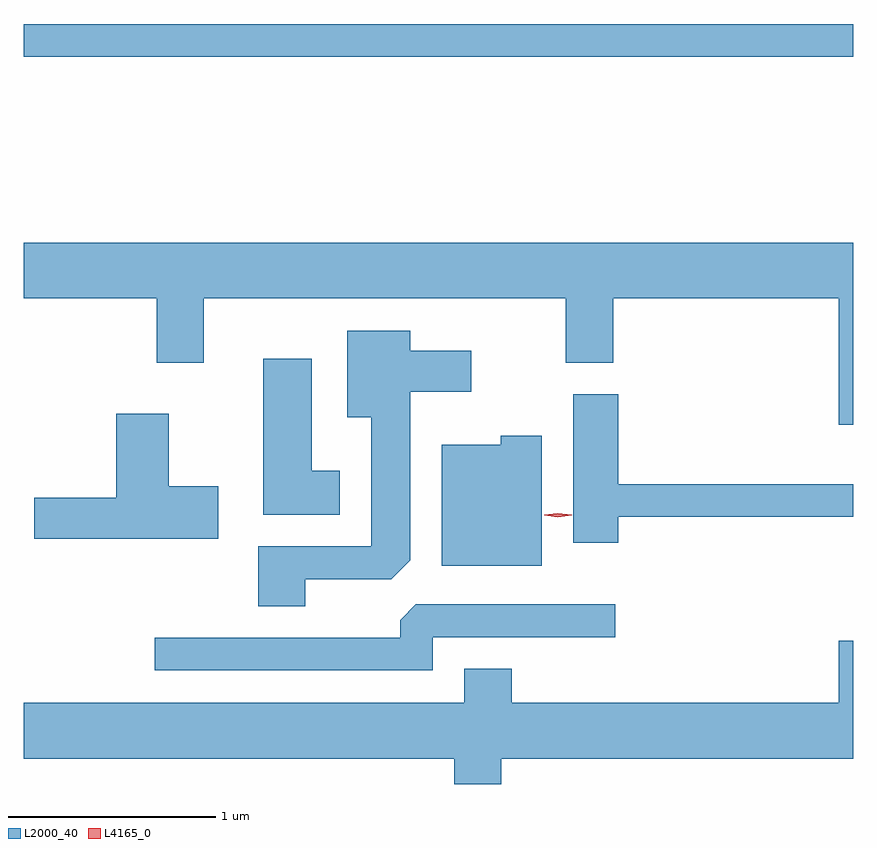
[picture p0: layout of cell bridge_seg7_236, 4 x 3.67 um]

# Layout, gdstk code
import gdstk
lib = gdstk.Library(unit=1e-6, precision=1e-09)
def R(c, l, rs):  # rectangles x0, y0, x1, y1
    for r in rs: c.add(gdstk.rectangle(r[:2], r[2:], *l))
def P(c, l, *ps):  # polygons
    for p in ps: c.add(gdstk.Polygon(p, *l))
L2000_40 = (2000, 40)
L4165_0 = (4165, 0)

bridge_seg7_236 = lib.new_cell('bridge_seg7_236')
R(bridge_seg7_236, L2000_40, [(1769.586,1697.721,1773.586,1697.879)])
P(bridge_seg7_236, L2000_40, [(1773.586,1696.824),(1769.586,1696.824),(1769.586,1696.556),(1770.226,1696.556),(1770.226,1696.246),(1770.454,1696.246),(1770.454,1696.556),(1772.201,1696.556),(1772.201,1696.246),(1772.429,1696.246),(1772.429,1696.556),(1773.516,1696.556),(1773.516,1695.946),(1773.586,1695.946)],
  [(1770.944,1695.201),(1771.359,1695.201),(1771.449,1695.292),(1771.449,1696.106),(1771.744,1696.106),(1771.744,1696.304),(1771.449,1696.304),(1771.449,1696.399),(1771.146,1696.399),(1771.146,1695.981),(1771.261,1695.981),(1771.261,1695.359),(1770.716,1695.359),(1770.716,1695.071),(1770.944,1695.071)],
  [(1771.109,1695.724),(1770.974,1695.724),(1770.974,1696.264),(1770.741,1696.264),(1770.741,1695.511),(1771.109,1695.511)],
  [(1772.454,1695.501),(1773.586,1695.501),(1773.586,1695.659),(1772.454,1695.659),(1772.454,1696.094),(1772.236,1696.094),(1772.236,1695.376),(1772.454,1695.376)],
  [(1770.524,1695.649),(1770.284,1695.649),(1770.284,1695.999),(1770.031,1695.999),(1770.031,1695.594),(1769.636,1695.594),(1769.636,1695.396),(1770.524,1695.396)],
  [(1772.084,1695.894),(1771.886,1695.894),(1771.886,1695.849),(1771.601,1695.849),(1771.601,1695.266),(1772.084,1695.266)],
  [(1771.559,1694.921),(1772.438,1694.921),(1772.438,1695.079),(1771.477,1695.079),(1771.401,1695.004),(1771.401,1694.919),(1770.218,1694.919),(1770.218,1694.761),(1771.559,1694.761)],
  [(1771.889,1694.336),(1773.586,1694.336),(1773.586,1694.904),(1773.516,1694.904),(1773.516,1694.604),(1771.939,1694.604),(1771.939,1694.769),(1771.711,1694.769),(1771.711,1694.604),(1769.586,1694.604),(1769.586,1694.336),(1771.661,1694.336),(1771.661,1694.213),(1771.889,1694.213)])
P(bridge_seg7_236, L4165_0, [(1772.162,1695.5),(1772.096,1695.51),(1772.096,1695.51),(1772.096,1695.511),(1772.162,1695.52),(1772.228,1695.511),(1772.228,1695.51),(1772.228,1695.51)])

lib.write_gds('bridge_seg7_236.gds')
